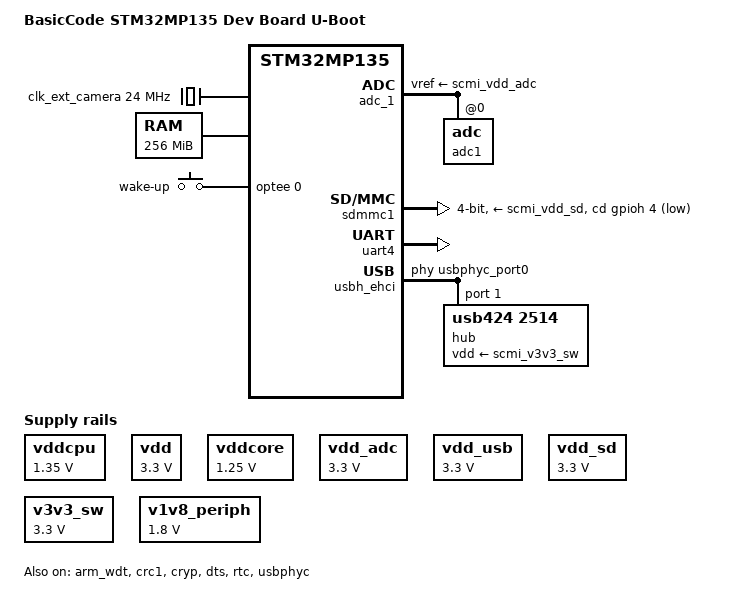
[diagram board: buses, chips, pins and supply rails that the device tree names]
// SPDX-License-Identifier: (GPL-2.0+ OR BSD-3-Clause)
/*
 * Copyright (C) STMicroelectronics 2021 - All Rights Reserved
 * Author: Alexandre Torgue <alexandre.torgue@foss.st.com> for STMicroelectronics.
 */

/dts-v1/;

#include <dt-bindings/gpio/gpio.h>
#include <dt-bindings/input/input.h>
#include <dt-bindings/leds/common.h>
#include <dt-bindings/regulator/st,stm32mp13-regulator.h>
#include <dt-bindings/rtc/rtc-stm32.h>
#include "stm32mp135.dtsi"
#include "stm32mp13xf.dtsi"
#include "stm32mp13-pinctrl.dtsi"

/ {
	model = "BasicCode STM32MP135 Dev Board U-Boot";
	compatible = "st,stm32mp135";

	aliases {
		serial0 = &uart4;
	};

	chosen {
		stdout-path = "serial0:115200n8";
		#address-cells = <1>;
		#size-cells = <1>;
		ranges;

		framebuffer {
			compatible = "simple-framebuffer";
			clocks = <&rcc LTDC_PX>;
			status = "disabled";
		};
	};

	clocks {
		clk_ext_camera: clk-ext-camera {
			#clock-cells = <0>;
			compatible = "fixed-clock";
			clock-frequency = <24000000>;
		};

		clk_mco1: clk-mco1 {
			#clock-cells = <0>;
			compatible = "fixed-clock";
			clock-frequency = <24000000>;
		};
	};

	memory@c0000000 {
		device_type = "memory";
		reg = <0xc0000000 0x10000000>;
	};

	reserved-memory {
		#address-cells = <1>;
		#size-cells = <1>;
		ranges;

		optee_framebuffer@cd000000 {
				reg = <0xcd000000 0x1000000>;
				no-map;
		};

		optee@ce000000 {
			reg = <0xce000000 0x2000000>;
			no-map;
		};
	};

	/*
     * Dummy regulators because no PMIC
     */

    vddcpu: vddcpu {
        compatible = "regulator-fixed";
        regulator-name = "vddcpu";
        regulator-min-microvolt = <1350000>;
        regulator-max-microvolt = <1350000>;
        regulator-always-on;
    };

    vdd: vdd {
        compatible = "regulator-fixed";
        regulator-name = "vdd";
        regulator-min-microvolt = <3300000>;
        regulator-max-microvolt = <3300000>;
        regulator-always-on;
    };

    vddcore: vddcore {
        compatible = "regulator-fixed";
        regulator-name = "vddcore";
        regulator-min-microvolt = <1250000>;
        regulator-max-microvolt = <1250000>;
        regulator-always-on;
    };

    vdd_adc: vdd_adc {
        compatible = "regulator-fixed";
        regulator-name = "vdd_adc";
        regulator-min-microvolt = <3300000>;
        regulator-max-microvolt = <3300000>;
        regulator-always-on;
    };

    vdd_usb: vdd_usb {
        compatible = "regulator-fixed";
        regulator-name = "vdd_usb";
        regulator-min-microvolt = <3300000>;
        regulator-max-microvolt = <3300000>;
        regulator-always-on;
    };

    vdd_sd: vdd_sd {
        compatible = "regulator-fixed";
        regulator-name = "vdd_sd";
        regulator-min-microvolt = <3300000>;
        regulator-max-microvolt = <3300000>;
        regulator-always-on;
    };

    v3v3_sw: v3v3_sw {
        compatible = "regulator-fixed";
        regulator-name = "v3v3_sw";
        regulator-min-microvolt = <3300000>;
        regulator-max-microvolt = <3300000>;
        regulator-always-on;
    };

    v1v8_periph: v1v8_periph {
        compatible = "regulator-fixed";
        regulator-name = "v1v8_periph";
        regulator-min-microvolt = <1800000>;
        regulator-max-microvolt = <1800000>;
        regulator-always-on;
    };

	wake_up {
		compatible = "gpio-keys";
		status = "okay";

		button {
			label = "wake-up";
			linux,code = <KEY_WAKEUP>;
			interrupts-extended = <&optee 0>;
			status = "okay";
		};
	};
};

&adc_1 {
	pinctrl-names = "default";
	pinctrl-0 = <&adc1_usb_cc_pins_a>;
	vdda-supply = <&scmi_vdd_adc>;
	vref-supply = <&scmi_vdd_adc>;
	status = "okay";
	adc1: adc@0 {
		status = "okay";
		/*
		 * Type-C USB_PWR_CC1 & USB_PWR_CC2 on in6 & in12.
		 * Use at least 5 * RC time, e.g. 5 * (Rp + Rd) * C:
		 * 5 * (5.1 + 47kOhms) * 5pF => 1.3us.
		 * Use arbitrary margin here (e.g. 5us).
		 */
		channel@6 {
			reg = <6>;
			st,min-sample-time-ns = <5000>;
		};
		channel@12 {
			reg = <12>;
			st,min-sample-time-ns = <5000>;
		};
	};
};

&arm_wdt {
	timeout-sec = <32>;
	status = "okay";
};

&crc1 {
	status = "okay";
};

&cryp {
	status = "okay";
};

&dts {
	status = "okay";
};

&rtc {
	st,lsco = <RTC_OUT2_RMP>;
	pinctrl-0 = <&rtc_out2_rmp_pins_a>;
	pinctrl-names = "default";
	status = "okay";
};

&scmi_regu {
	scmi_vddcpu: voltd-vddcpu {
		reg = <VOLTD_SCMI_STPMIC1_BUCK1>;
		regulator-name = "vddcpu";
	};
	scmi_vdd: voltd-vdd {
		reg = <VOLTD_SCMI_STPMIC1_BUCK3>;
		regulator-name = "vdd";
	};
	scmi_vddcore: voltd-vddcore {
		reg = <VOLTD_SCMI_STPMIC1_BUCK4>;
		regulator-name = "vddcore";
	};
	scmi_vdd_adc: voltd-vdd-adc {
		reg = <VOLTD_SCMI_STPMIC1_LDO1>;
		regulator-name = "vdd_adc";
	};
	scmi_vdd_usb: voltd-vdd-usb {
		reg = <VOLTD_SCMI_STPMIC1_LDO4>;
		regulator-name = "vdd_usb";
	};
	scmi_vdd_sd: voltd-vdd-sd {
		reg = <VOLTD_SCMI_STPMIC1_LDO5>;
		regulator-name = "vdd_sd";
	};
	scmi_v1v8_periph: voltd-v1v8-periph {
		reg = <VOLTD_SCMI_STPMIC1_LDO6>;
		regulator-name = "v1v8_periph";
	};
	scmi_v3v3_sw: voltd-v3v3-sw {
		reg = <VOLTD_SCMI_STPMIC1_PWR_SW2>;
		regulator-name = "v3v3_sw";
	};
};

&sdmmc1 {
	pinctrl-names = "default", "opendrain", "sleep";
	pinctrl-0 = <&sdmmc1_b4_pins_a &sdmmc1_clk_pins_a>;
	pinctrl-1 = <&sdmmc1_b4_od_pins_a &sdmmc1_clk_pins_a>;
	pinctrl-2 = <&sdmmc1_b4_sleep_pins_a>;
	cd-gpios = <&gpioh 4 (GPIO_ACTIVE_LOW | GPIO_PULL_UP)>;
	disable-wp;
	st,neg-edge;
	bus-width = <4>;
	vmmc-supply = <&scmi_vdd_sd>;
	status = "okay";
};

&spi5 {
	pinctrl-names = "default", "sleep";
	pinctrl-0 = <&spi5_pins_a>;
	pinctrl-1 = <&spi5_sleep_pins_a>;
	status = "disabled";
};

&timers3 {
	/delete-property/dmas;
	/delete-property/dma-names;
	status = "disabled";
	pwm {
		pinctrl-0 = <&pwm3_pins_a>;
		pinctrl-1 = <&pwm3_sleep_pins_a>;
		pinctrl-names = "default", "sleep";
		status = "okay";
	};
	timer@2 {
		status = "okay";
	};
};

&timers4 {
	/delete-property/dmas;
	/delete-property/dma-names;
	status = "disabled";
	pwm {
		pinctrl-0 = <&pwm4_pins_a>;
		pinctrl-1 = <&pwm4_sleep_pins_a>;
		pinctrl-names = "default", "sleep";
		status = "okay";
	};
	timer@3 {
		status = "okay";
	};
};

&timers8 {
	/delete-property/dmas;
	/delete-property/dma-names;
	status = "disabled";
	pwm {
		pinctrl-0 = <&pwm8_pins_a>;
		pinctrl-1 = <&pwm8_sleep_pins_a>;
		pinctrl-names = "default", "sleep";
		status = "okay";
	};
	timer@7 {
		status = "okay";
	};
};

&timers14 {
	status = "disabled";
	pwm {
		pinctrl-0 = <&pwm14_pins_a>;
		pinctrl-1 = <&pwm14_sleep_pins_a>;
		pinctrl-names = "default", "sleep";
		status = "okay";
	};
	timer@13 {
		status = "okay";
	};
};

&uart4 {
	pinctrl-names = "default", "sleep", "idle";
	pinctrl-0 = <&uart4_pins_a>;
	pinctrl-1 = <&uart4_sleep_pins_a>;
	pinctrl-2 = <&uart4_idle_pins_a>;
	/delete-property/dmas;
	/delete-property/dma-names;
	status = "okay";
};

&usbh_ehci {
	phys = <&usbphyc_port0>;
	status = "okay";
	#address-cells = <1>;
	#size-cells = <0>;
	/* onboard HUB */
	hub@1 {
		compatible = "usb424,2514";
		reg = <1>;
		vdd-supply = <&scmi_v3v3_sw>;
	};
};

&usbphyc {
	status = "okay";
};

&usbphyc_port0 {
	phy-supply = <&scmi_vdd_usb>;
	st,current-boost-microamp = <1000>;
	st,decrease-hs-slew-rate;
	st,tune-hs-dc-level = <2>;
	st,enable-hs-rftime-reduction;
	st,trim-hs-current = <11>;
	st,trim-hs-impedance = <2>;
	st,tune-squelch-level = <1>;
	st,enable-hs-rx-gain-eq;
	st,no-hs-ftime-ctrl;
	st,no-lsfs-sc;
};

&usbphyc_port1 {
	phy-supply = <&scmi_vdd_usb>;
	st,current-boost-microamp = <1000>;
	st,decrease-hs-slew-rate;
	st,tune-hs-dc-level = <2>;
	st,enable-hs-rftime-reduction;
	st,trim-hs-current = <11>;
	st,trim-hs-impedance = <2>;
	st,tune-squelch-level = <1>;
	st,enable-hs-rx-gain-eq;
	st,no-hs-ftime-ctrl;
	st,no-lsfs-sc;
};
